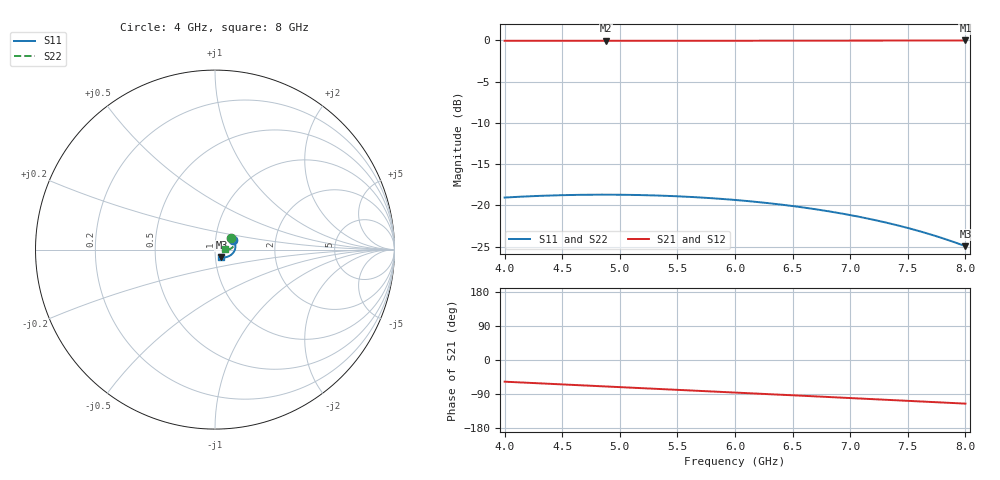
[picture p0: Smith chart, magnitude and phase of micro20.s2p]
! Sonnet Data File
! From: emgraph Version : 15.53-Lite
! From Emgraph Data: micro
! Data File Written: 09/15/2014 11:53:52
!< HDATE 09/15/2014 11:53:18
!< MDATE 09/15/2014 11:53:18
# GHZ S RI R 50.00000
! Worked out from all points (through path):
!   201 points, 4 GHz to 8 GHz, reference 50 ohm
!   highest |S21| = -0.01 dB at 8 GHz (marker M1); lowest = -0.1 dB at 4.88 GHz (marker M2)
!   group delay of S21, straight-line fit = 40.2 ps
!   lowest |S11| = -25.0 dB at 8 GHz (marker M3), VSWR 1.12, Z = 53.5 - j4.7 ohm
!   |S11| at or under -10 dB: start of sweep to end of sweep
!   |S22| runs from -24.9 to -18.7 dB; largest |S21 - S12| = 0
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4  0.0978 0.0535  0.5382 -0.8354  0.5382 -0.8354  0.0891 0.0669
!< P1 F=4.0 Eeff=(6.1975274 -5.7859e-4) Z0=(67.8871587 0.00316838) R=0.08298377 C=0.04148466
!< P2 F=4.0 Eeff=(6.1975274 -5.7859e-4) Z0=(67.8871587 0.00316838) R=0.08298377 C=0.04148466
4.34  0.105 0.0453  0.4655 -0.8776  0.4655 -0.8776  0.0963 0.0616
4.5  0.1077 0.0408  0.4301 -0.8954  0.4301 -0.8954  0.0992 0.0586
4.68  0.1102 0.0355  0.3894 -0.9137  0.3894 -0.9137  0.1019 0.055
4.88  0.1123 0.0293  0.3434 -0.9319  0.3434 -0.9319  0.1044 0.0507
5.12  0.1136 0.0214  0.2869 -0.9509  0.2869 -0.9509  0.1064 0.0451
5.34  0.1137 0.0139  0.2342 -0.9653  0.2342 -0.9653  0.1074 0.0398
5.52  0.113 0.00777  0.1905 -0.9751  0.1905 -0.9751  0.1076 0.0354
5.68  0.1117 0.0023  0.1512 -0.9821  0.1512 -0.9821  0.1072 0.0315
6  0.1075 -0.00839  0.0718 -0.9915  0.0718 -0.9915  0.1051 0.0239
6.16  0.1044 -0.0135  0.0317 -0.9939  0.0317 -0.9939  0.1034 0.0202
6.34  0.1004 -0.019  -0.0135 -0.9946  -0.0135 -0.9946  0.1009 0.0163
6.52  0.0956 -0.0241  -0.0588 -0.9933  -0.0588 -0.9933  0.0978 0.0127
6.68  0.0908 -0.0283  -0.0992 -0.9904  -0.0992 -0.9904  0.0946 0.00982
6.86  0.0848 -0.0325  -0.1445 -0.9852  -0.1445 -0.9852  0.0906 0.0069
7.02  0.079 -0.0358  -0.1846 -0.9789  -0.1846 -0.9789  0.0866 0.00468
7.18  0.0728 -0.0386  -0.2246 -0.9709  -0.2246 -0.9709  0.0824 0.00285
7.34  0.0661 -0.0409  -0.2643 -0.9612  -0.2643 -0.9612  0.0778 0.00144
7.52  0.0583 -0.0428  -0.3086 -0.9484  -0.3086 -0.9484  0.0723 0.000386
7.68  0.051 -0.0438  -0.3476 -0.9352  -0.3476 -0.9352  0.0672 -3.78e-05
7.84  0.0434 -0.0441  -0.386 -0.9203  -0.386 -0.9203  0.062 4.15e-05
8  0.0357 -0.0438  -0.4239 -0.9038  -0.4239 -0.9038  0.0566 0.000643
